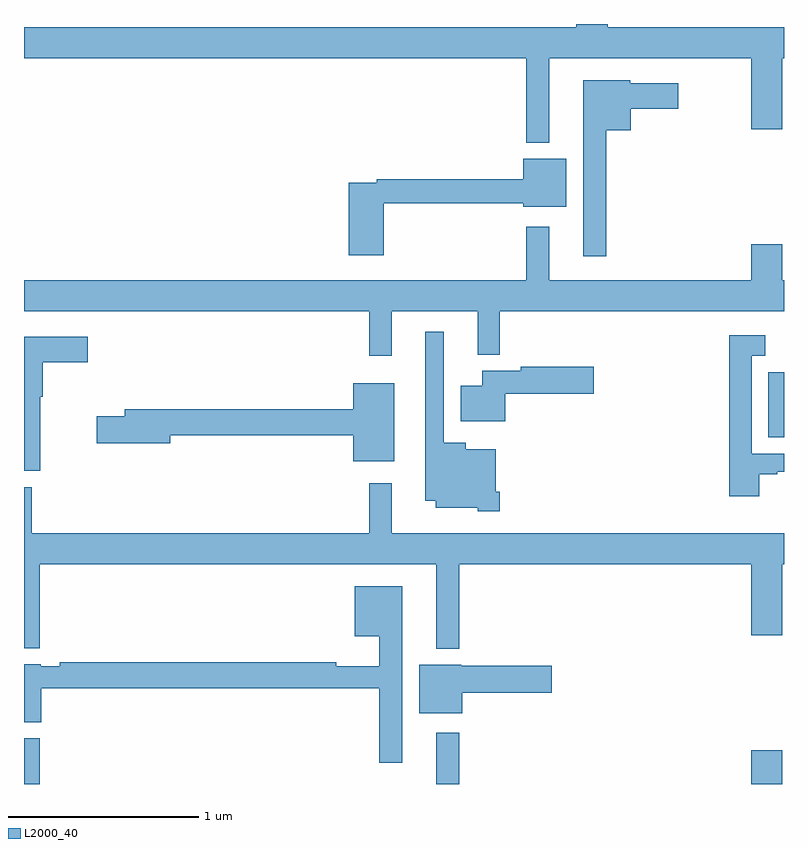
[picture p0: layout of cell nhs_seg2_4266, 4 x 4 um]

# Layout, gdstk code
import gdstk
lib = gdstk.Library(unit=1e-6, precision=1e-09)
def R(c, l, rs):  # rectangles x0, y0, x1, y1
    for r in rs: c.add(gdstk.rectangle(r[:2], r[2:], *l))
def P(c, l, *ps):  # polygons
    for p in ps: c.add(gdstk.Polygon(p, *l))
L2000_40 = (2000, 40)

nhs_seg2_4266 = lib.new_cell('nhs_seg2_4266')
R(nhs_seg2_4266, L2000_40, [(341,659.8,341.084,660.04), (343.169,659.8,343.291,660.07), (344.828,659.8,344.992,659.977), (344.918,661.624,345,661.968)])
P(nhs_seg2_4266, L2000_40, [(343.765,663.62),(344.828,663.62),(344.828,663.246),(344.992,663.246),(344.992,663.62),(345,663.62),(345,663.784),(344.072,663.784),(344.072,663.8),(343.907,663.8),(343.907,663.784),(341,663.784),(341,663.62),(343.644,663.62),(343.644,663.176),(343.765,663.176)],
  [(344.065,663.242),(344.194,663.242),(344.194,663.353),(344.443,663.353),(344.443,663.487),(344.19,663.487),(344.19,663.505),(343.943,663.505),(343.943,662.577),(344.065,662.577)],
  [(342.893,662.856),(343.628,662.856),(343.628,662.837),(343.855,662.837),(343.855,663.091),(343.628,663.091),(343.628,662.984),(342.856,662.984),(342.856,662.964),(342.71,662.964),(342.71,662.583),(342.893,662.583)],
  [(342.935,662.288),(343.388,662.288),(343.388,662.06),(343.505,662.06),(343.505,662.288),(345,662.288),(345,662.452),(344.992,662.452),(344.992,662.641),(344.828,662.641),(344.828,662.452),(343.765,662.452),(343.765,662.734),(343.644,662.734),(343.644,662.452),(341,662.452),(341,662.288),(342.817,662.288),(342.817,662.055),(342.935,662.055)],
  [(343.505,661.339),(343.483,661.339),(343.483,661.561),(343.324,661.561),(343.324,661.597),(343.209,661.597),(343.209,662.179),(343.112,662.179),(343.112,661.292),(343.166,661.292),(343.166,661.253),(343.389,661.253),(343.389,661.235),(343.505,661.235)],
  [(344.869,661.431),(344.965,661.431),(344.965,661.443),(345,661.443),(345,661.539),(344.829,661.539),(344.829,662.055),(344.902,662.055),(344.902,662.161),(344.713,662.161),(344.713,661.314),(344.869,661.314)],
  [(341.086,661.837),(341.099,661.837),(341.099,662.021),(341.335,662.021),(341.335,662.155),(341,662.155),(341,661.448),(341.086,661.448)],
  [(343.534,661.853),(343.999,661.853),(343.999,661.995),(343.614,661.995),(343.614,661.975),(343.412,661.975),(343.412,661.897),(343.298,661.897),(343.298,661.709),(343.534,661.709)],
  [(342.949,661.909),(342.734,661.909),(342.734,661.772),(341.531,661.772),(341.531,661.736),(341.382,661.736),(341.382,661.594),(341.77,661.594),(341.77,661.636),(342.734,661.636),(342.734,661.499),(342.949,661.499)],
  [(342.936,661.384),(342.817,661.384),(342.817,661.12),(341.042,661.12),(341.042,661.363),(341,661.363),(341,660.515),(341.084,660.515),(341.084,660.956),(343.169,660.956),(343.169,660.512),(343.291,660.512),(343.291,660.956),(344.828,660.956),(344.828,660.582),(344.992,660.582),(344.992,660.956),(345,660.956),(345,661.12),(342.936,661.12)],
  [(342.991,660.841),(342.74,660.841),(342.74,660.578),(342.87,660.578),(342.87,660.421),(342.644,660.421),(342.644,660.44),(341.188,660.44),(341.188,660.42),(341.088,660.42),(341.088,660.43),(341,660.43),(341,660.125),(341.092,660.125),(341.092,660.304),(342.87,660.304),(342.87,659.913),(342.991,659.913)],
  [(343.306,660.28),(343.777,660.28),(343.777,660.422),(343.302,660.422),(343.302,660.427),(343.079,660.427),(343.079,660.173),(343.306,660.173)])

lib.write_gds('nhs_seg2_4266.gds')
